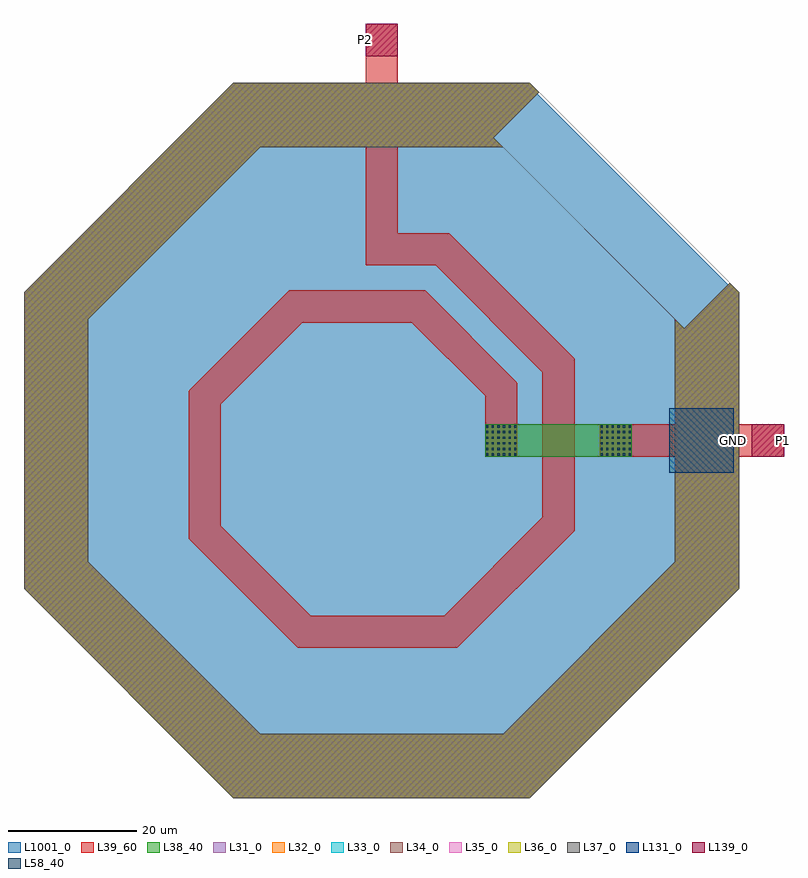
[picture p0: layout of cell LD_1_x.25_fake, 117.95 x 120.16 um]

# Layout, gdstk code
import gdstk
lib = gdstk.Library(unit=1e-6, precision=1e-09)
def R(c, l, rs):  # rectangles x0, y0, x1, y1
    for r in rs: c.add(gdstk.rectangle(r[:2], r[2:], *l))
def A(c, l, x, y, w, h, nx, ny, dx, dy):  # array of equal rectangles
    R(c, l, [(x+i*dx, y+j*dy, x+i*dx+w, y+j*dy+h) for i in range(nx) for j in range(ny)])
def P(c, l, *ps):  # polygons
    for p in ps: c.add(gdstk.Polygon(p, *l))
L31_0 = (31, 0)
L32_0 = (32, 0)
L33_0 = (33, 0)
L34_0 = (34, 0)
L35_0 = (35, 0)
L36_0 = (36, 0)
L37_0 = (37, 0)
L38_40 = (38, 40)
L39_60 = (39, 60)
L58_40 = (58, 40)
L131_0 = (131, 0)
L139_0 = (139, 0)
L1001_0 = (1001, 0)

ld_1_x_25_fake = lib.new_cell('LD_1_x.25_fake')
P(ld_1_x_25_fake, L31_0, [(46.966,17.383),(54.037,24.454),(22.989,55.501),(-22.989,55.501),(-55.501,22.989),(-55.501,-22.989),(-22.989,-55.501),(22.989,-55.501),(55.501,-22.989),(55.501,22.989),(24.454,54.037),(17.383,46.966),(45.501,18.847),(45.501,-18.847),(18.847,-45.501),(-18.847,-45.501),(-45.501,-18.847),(-45.501,18.847),(-18.847,45.501),(18.847,45.501)])
P(ld_1_x_25_fake, L32_0, [(46.966,17.383),(54.037,24.454),(22.989,55.501),(-22.989,55.501),(-55.501,22.989),(-55.501,-22.989),(-22.989,-55.501),(22.989,-55.501),(55.501,-22.989),(55.501,22.989),(24.454,54.037),(17.383,46.966),(45.501,18.847),(45.501,-18.847),(18.847,-45.501),(-18.847,-45.501),(-45.501,-18.847),(-45.501,18.847),(-18.847,45.501),(18.847,45.501)])
P(ld_1_x_25_fake, L33_0, [(46.966,17.383),(54.037,24.454),(22.989,55.501),(-22.989,55.501),(-55.501,22.989),(-55.501,-22.989),(-22.989,-55.501),(22.989,-55.501),(55.501,-22.989),(55.501,22.989),(24.454,54.037),(17.383,46.966),(45.501,18.847),(45.501,-18.847),(18.847,-45.501),(-18.847,-45.501),(-45.501,-18.847),(-45.501,18.847),(-18.847,45.501),(18.847,45.501)])
P(ld_1_x_25_fake, L34_0, [(46.966,17.383),(54.037,24.454),(22.989,55.501),(-22.989,55.501),(-55.501,22.989),(-55.501,-22.989),(-22.989,-55.501),(22.989,-55.501),(55.501,-22.989),(55.501,22.989),(24.454,54.037),(17.383,46.966),(45.501,18.847),(45.501,-18.847),(18.847,-45.501),(-18.847,-45.501),(-45.501,-18.847),(-45.501,18.847),(-18.847,45.501),(18.847,45.501)])
P(ld_1_x_25_fake, L35_0, [(46.966,17.383),(54.037,24.454),(22.989,55.501),(-22.989,55.501),(-55.501,22.989),(-55.501,-22.989),(-22.989,-55.501),(22.989,-55.501),(55.501,-22.989),(55.501,22.989),(24.454,54.037),(17.383,46.966),(45.501,18.847),(45.501,-18.847),(18.847,-45.501),(-18.847,-45.501),(-45.501,-18.847),(-45.501,18.847),(-18.847,45.501),(18.847,45.501)])
P(ld_1_x_25_fake, L36_0, [(46.966,17.383),(54.037,24.454),(22.989,55.501),(-22.989,55.501),(-55.501,22.989),(-55.501,-22.989),(-22.989,-55.501),(22.989,-55.501),(55.501,-22.989),(55.501,22.989),(24.454,54.037),(17.383,46.966),(45.501,18.847),(45.501,-18.847),(18.847,-45.501),(-18.847,-45.501),(-45.501,-18.847),(-45.501,18.847),(-18.847,45.501),(18.847,45.501)])
P(ld_1_x_25_fake, L37_0, [(46.966,17.383),(54.037,24.454),(22.989,55.501),(-22.989,55.501),(-55.501,22.989),(-55.501,-22.989),(-22.989,-55.501),(22.989,-55.501),(55.501,-22.989),(55.501,22.989),(24.454,54.037),(17.383,46.966),(45.501,18.847),(45.501,-18.847),(18.847,-45.501),(-18.847,-45.501),(-45.501,-18.847),(-45.501,18.847),(-18.847,45.501),(18.847,45.501)])
R(ld_1_x_25_fake, L38_40, [(16.07,-2.5,38.82,2.5)])
P(ld_1_x_25_fake, L38_40, [(46.966,17.383),(54.037,24.454),(22.989,55.501),(-22.989,55.501),(-55.501,22.989),(-55.501,-22.989),(-22.989,-55.501),(22.989,-55.501),(55.501,-22.989),(55.501,22.989),(24.454,54.037),(17.383,46.966),(45.501,18.847),(45.501,-18.847),(18.847,-45.501),(-18.847,-45.501),(-45.501,-18.847),(-45.501,18.847),(-18.847,45.501),(18.847,45.501)])
R(ld_1_x_25_fake, L39_60, [(33.82,-2.5,62.445,2.5), (-2.5,27.16,2.5,64.66)])
P(ld_1_x_25_fake, L39_60, [(16.07,-2.5),(21.07,-2.5),(21.07,8.996),(6.775,23.285),(-14.35,23.285),(-29.945,7.696),(-29.945,-15.271),(-13.05,-32.16),(11.756,-32.16),(29.945,-13.971),(29.945,12.671),(10.456,32.16),(0,32.16),(0,27.16),(8.384,27.16),(24.945,10.599),(24.945,-11.899),(9.684,-27.16),(-10.98,-27.16),(-24.945,-13.199),(-24.945,5.624),(-12.28,18.285),(4.705,18.285),(16.07,6.924)],
  [(46.966,17.383),(54.037,24.454),(22.989,55.501),(-22.989,55.501),(-55.501,22.989),(-55.501,-22.989),(-22.989,-55.501),(22.989,-55.501),(55.501,-22.989),(55.501,22.989),(24.454,54.037),(17.383,46.966),(45.501,18.847),(45.501,-18.847),(18.847,-45.501),(-18.847,-45.501),(-45.501,-18.847),(-45.501,18.847),(-18.847,45.501),(18.847,45.501)])
A(ld_1_x_25_fake, L58_40, 16.219, -2.35, 0.35, 0.35, 6, 6, 0.87, 0.87)
A(ld_1_x_25_fake, L58_40, 33.969, -2.35, 0.35, 0.35, 6, 6, 0.87, 0.87)
R(ld_1_x_25_fake, L131_0, [(44.66,-5,54.66,5)])
R(ld_1_x_25_fake, L139_0, [(57.445,-2.5,62.445,2.5), (-2.5,59.66,2.5,64.66)])
P(ld_1_x_25_fake, L1001_0, [(55.121,22.832),(22.832,55.121),(-22.832,55.121),(-55.121,22.832),(-55.121,-22.832),(-22.832,-55.121),(22.832,-55.121),(55.121,-22.832)],
  [(55.121,22.832),(22.832,55.121),(-22.832,55.121),(-55.121,22.832),(-55.121,-22.832),(-22.832,-55.121),(22.832,-55.121),(55.121,-22.832)],
  [(55.121,22.832),(22.832,55.121),(-22.832,55.121),(-55.121,22.832),(-55.121,-22.832),(-22.832,-55.121),(22.832,-55.121),(55.121,-22.832)],
  [(55.121,22.832),(22.832,55.121),(-22.832,55.121),(-55.121,22.832),(-55.121,-22.832),(-22.832,-55.121),(22.832,-55.121),(55.121,-22.832)],
  [(55.121,22.832),(22.832,55.121),(-22.832,55.121),(-55.121,22.832),(-55.121,-22.832),(-22.832,-55.121),(22.832,-55.121),(55.121,-22.832)],
  [(55.121,22.832),(22.832,55.121),(-22.832,55.121),(-55.121,22.832),(-55.121,-22.832),(-22.832,-55.121),(22.832,-55.121),(55.121,-22.832)],
  [(55.121,22.832),(22.832,55.121),(-22.832,55.121),(-55.121,22.832),(-55.121,-22.832),(-22.832,-55.121),(22.832,-55.121),(55.121,-22.832)],
  [(55.121,22.832),(22.832,55.121),(-22.832,55.121),(-55.121,22.832),(-55.121,-22.832),(-22.832,-55.121),(22.832,-55.121),(55.121,-22.832)],
  [(55.121,22.832),(22.832,55.121),(-22.832,55.121),(-55.121,22.832),(-55.121,-22.832),(-22.832,-55.121),(22.832,-55.121),(55.121,-22.832)])
ld_1_x_25_fake.add(gdstk.Label('P1', (62.444,0), layer=139, texttype=0))
ld_1_x_25_fake.add(gdstk.Label('P2', (-2.5,62.162), layer=139, texttype=0))
ld_1_x_25_fake.add(gdstk.Label('GND', (54.662,0), layer=131, texttype=0))

lib.write_gds('LD_1_x.25_fake.gds')
